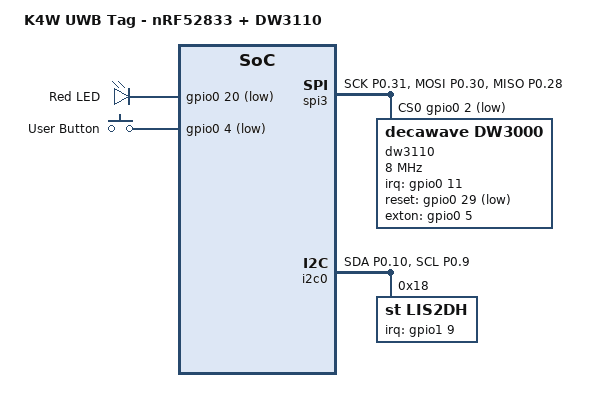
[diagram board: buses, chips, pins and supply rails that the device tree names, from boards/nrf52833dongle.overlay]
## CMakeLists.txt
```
cmake_minimum_required(VERSION 3.20.0)

# Set default board and build type if not specified
if(NOT DEFINED BOARD)
  set(BOARD nrf52833dongle)
endif()

find_package(Zephyr REQUIRED HINTS $ENV{ZEPHYR_BASE})
project(UWB_TAG_FIRMWARE)

target_sources(app PRIVATE 
    src/main.c
    src/uwb_driver.c
    src/pin_test.c
)
```

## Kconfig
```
mainmenu "UWB TAG FIRMWARE Configuration"

source "Kconfig.zephyr"
```

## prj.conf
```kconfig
# UWB TAG FIRMWARE - Configuration

# Minimal logging with RTT backend
CONFIG_LOG=y
CONFIG_LOG_PRINTK=y
CONFIG_LOG_MODE_MINIMAL=y
CONFIG_LOG_DEFAULT_LEVEL=3

# RTT for logging
CONFIG_USE_SEGGER_RTT=y
CONFIG_SEGGER_RTT_BUFFER_SIZE_UP=4096
CONFIG_CONSOLE=y
CONFIG_RTT_CONSOLE=y
CONFIG_UART_CONSOLE=n
CONFIG_PRINTK=y
CONFIG_EARLY_CONSOLE=y

# CRITICAL: Use NFC pins as GPIOs (required for I2C on P0.09/P0.10)
CONFIG_NFCT_PINS_AS_GPIOS=y

# SPI Driver
CONFIG_SPI=y
CONFIG_SPI_NRFX=y

# GPIO Driver
CONFIG_GPIO=y

# I2C Driver (for LIS2DH accelerometer)
CONFIG_I2C=y

# Disable Watchdog
CONFIG_WATCHDOG=n
```

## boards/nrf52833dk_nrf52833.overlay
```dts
/*
 * Copyright (c) 2024 UWB TAG FIRMWARE Project
 * Device Tree Overlay for NRF52833 DK with DW3210 UWB Transceiver
 */

/ {
	model = "NRF52833 DK with DW3210 UWB";
};

&pinctrl {
	spi0_default: spi0_default {
		group1 {
			psels = <NRF_PSEL(SPIM_SCK, 0, 27)>,
				<NRF_PSEL(SPIM_MOSI, 0, 26)>,
				<NRF_PSEL(SPIM_MISO, 0, 29)>;
		};
	};

	spi0_sleep: spi0_sleep {
		group1 {
			psels = <NRF_PSEL(SPIM_SCK, 0, 27)>,
				<NRF_PSEL(SPIM_MOSI, 0, 26)>,
				<NRF_PSEL(SPIM_MISO, 0, 29)>;
			low-power-enable;
		};
	};
};

&spi0 {
	status = "okay";
	pinctrl-0 = <&spi0_default>;
	pinctrl-1 = <&spi0_sleep>;
	pinctrl-names = "default", "sleep";
	cs-gpios = <&gpio0 31 GPIO_ACTIVE_LOW>;

	dw3210: dw3210@0 {
		compatible = "qorvo,dw3210";
		reg = <0>;
		spi-max-frequency = <2000000>;
		irq-gpios = <&gpio0 3 GPIO_ACTIVE_HIGH>;
		reset-gpios = <&gpio0 4 GPIO_ACTIVE_LOW>;
	};
};
```

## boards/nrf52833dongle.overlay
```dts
/*
 * K4W UWB Tag - Device Tree Overlay
 * Based on K4W_DW31X0_52833_SCH V1.1 - VERIFIED FROM RAW SCHEMATIC DATA
 * 
 * Pin Mapping (100% CONFIRMED - FINAL CORRECTION):
 *   UWB (SPI3): CLK=P0.31, MOSI=P0.30, MISO=P0.28, CS=P0.02 (SPICSN - CORRECTED!)
 *   UWB Control: IRQ=P0.11 (INT2 - CORRECTED!), RESET=P0.29 (RSTN)
 *   Note: EXTON and WAKEUP pins are NOT connected in this schematic
 *   I2C0: SDA=P0.10, SCL=P0.09 (NFC pins - requires CONFIG_NFCT_PINS_AS_GPIOS=y)
 *   LEDs: LED1=P0.05 (Blue), LED2=P0.20 (Red)
 *   Button: KEY=P0.04
 *   Accelerometer: LIS2DH on I2C0, CS=P0.15, SDO=P0.17, INT=P1.09
 */

/ {
	model = "K4W UWB Tag - nRF52833 + DW3110";
	
	/* LED Definitions */
	/* NOTE: P0.05 is used for EXTON (UWB power control), not LED! */
	leds {
		compatible = "gpio-leds";
		/* led1 disabled - P0.05 used for EXTON */
		led2: led_2 {
			gpios = <&gpio0 20 GPIO_ACTIVE_LOW>;
			label = "Red LED";
		};
	};

	/* Button Definition */
	buttons {
		compatible = "gpio-keys";
		button0: button_0 {
			gpios = <&gpio0 4 (GPIO_PULL_UP | GPIO_ACTIVE_LOW)>;
			label = "User Button";
		};
	};
	
	/* Aliases for easy code access */
	aliases {
		/delete-property/ led0;
		/delete-property/ led1;
		/delete-property/ led2;
		/delete-property/ led3;
		led0 = &led2;  /* Only red LED available */
		sw0 = &button0;
		uwb-spi = &spi3;
	};
};

/* Disable dongle's built-in LEDs */
&led0_green {
	status = "disabled";
};

&led1_red {
	status = "disabled";
};

&led1_green {
	status = "disabled";
};

&led1_blue {
	status = "disabled";
};

&pinctrl {
	/* SPI3 Pin Control (High-speed UWB) */
	spi3_default: spi3_default {
		group1 {
			psels = <NRF_PSEL(SPIM_SCK, 0, 31)>,
				<NRF_PSEL(SPIM_MOSI, 0, 30)>,
				<NRF_PSEL(SPIM_MISO, 0, 28)>;
		};
	};

	spi3_sleep: spi3_sleep {
		group1 {
			psels = <NRF_PSEL(SPIM_SCK, 0, 31)>,
				<NRF_PSEL(SPIM_MOSI, 0, 30)>,
				<NRF_PSEL(SPIM_MISO, 0, 28)>;
			low-power-enable;
		};
	};

	/* I2C0 Pin Control (Accelerometer) - NFC pins */
	i2c0_default: i2c0_default {
		group1 {
			psels = <NRF_PSEL(TWIM_SDA, 0, 10)>,
				<NRF_PSEL(TWIM_SCL, 0, 9)>;
		};
	};

	i2c0_sleep: i2c0_sleep {
		group1 {
			psels = <NRF_PSEL(TWIM_SDA, 0, 10)>,
				<NRF_PSEL(TWIM_SCL, 0, 9)>;
			low-power-enable;
		};
	};
};

/* UWB Module Configuration (SPI3) - SCHEMATIC VERIFIED */
&spi3 {
	compatible = "nordic,nrf-spim";
	status = "okay";
	pinctrl-0 = <&spi3_default>;
	pinctrl-1 = <&spi3_sleep>;
	pinctrl-names = "default", "sleep";
	
	/* CRITICAL: CS pin is P0.02 (SPICSN) - ACTIVE LOW (standard SPI) */
	cs-gpios = <&gpio0 2 GPIO_ACTIVE_LOW>;

	dw3110: dw3000@0 {
		compatible = "decawave,dw3000";
		reg = <0>;
		spi-max-frequency = <8000000>;  /* 8MHz max per DW3110 spec */
		
		/* Schematic: INT2 -> P0.11 (FINAL CORRECTION!) */
		irq-gpios = <&gpio0 11 GPIO_ACTIVE_HIGH>;
		
		/* Schematic: RSTN -> P0.29 (Active LOW) */
		reset-gpios = <&gpio0 29 GPIO_ACTIVE_LOW>;
		
		/* CRITICAL: EXTON -> P0.05 controls AP3406 buck converter (U7) EN pin */
		/* This MUST be HIGH to provide +1V8 core power to DW3110! */
		exton-gpios = <&gpio0 5 GPIO_ACTIVE_HIGH>;
	};
};

/* Accelerometer Configuration (I2C0) - Requires CONFIG_NFCT_PINS_AS_GPIOS=y */
&i2c0 {
	compatible = "nordic,nrf-twim";
	status = "okay";
	pinctrl-0 = <&i2c0_default>;
	pinctrl-1 = <&i2c0_sleep>;
	pinctrl-names = "default", "sleep";

	lis2dh@18 {
		compatible = "st,lis2dh";
		reg = <0x18>; /* Schematic: SDO pin at P0.17 determines address */
		/* Schematic block 22,23: INTE -> P1.09 */
		irq-gpios = <&gpio1 9 GPIO_ACTIVE_HIGH>;
	};
};
```

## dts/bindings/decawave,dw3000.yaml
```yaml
# SPDX-License-Identifier: Apache-2.0
# Copyright (c) 2024 K4W UWB Tag Project

description: Decawave DW3000 series UWB transceiver (DW3110, DW3120, etc.)

compatible: "decawave,dw3000"

include: spi-device.yaml

properties:
  irq-gpios:
    type: phandle-array
    description: |
      GPIO connected to the DW3000 IRQ (interrupt) pin.
      This pin is used by the chip to signal events to the host.

  reset-gpios:
    type: phandle-array
    description: |
      GPIO connected to the DW3000 RSTn (reset) pin.
      This is an active-low reset signal.

  wakeup-gpios:
    type: phandle-array
    description: |
      GPIO connected to the DW3000 WAKEUP pin.
      Used to wake the chip from deep sleep mode.

  exton-gpios:
    type: phandle-array
    description: |
      GPIO connected to the DW3000 EXTON (external enable) pin.
      Controls chip power domain enable (active high).
```

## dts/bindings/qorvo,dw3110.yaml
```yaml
# Copyright (c) 2024 UWB TAG FIRMWARE Project
# SPDX-License-Identifier: Apache-2.0

description: Decawave DW3110 UWB Transceiver

compatible: "qorvo,dw3110"

include: spi-device.yaml

properties:
  irq-gpios:
    type: phandle-array
    required: false
    description: |
      IRQ pin from DW3110 to host MCU (P0.11) - Optional for polling mode
      
  reset-gpios:
    type: phandle-array
    required: false
    description: |
      RESET/RSTN pin to DW3110 (P0.29 - Active Low) - Optional
      
  wakeup-gpios:
    type: phandle-array
    required: false
    description: |
      WAKEUP pin to DW3110 (conflicts with NFC) - Optional
```

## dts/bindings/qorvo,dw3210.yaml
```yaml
description: Qorvo DW3210 UWB Transceiver

compatible: "qorvo,dw3210"

include: spi-device.yaml

properties:
  irq-gpios:
    type: phandle-array
    required: true
  reset-gpios:
    type: phandle-array
    required: true
```

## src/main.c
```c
#include <zephyr/kernel.h>
#include <zephyr/logging/log.h>
#include <zephyr/drivers/gpio.h>
#include "pin_test.h"

LOG_MODULE_REGISTER(uwb_tag_firmware, CONFIG_LOG_DEFAULT_LEVEL);

/* Forward declaration of UWB driver functions */
extern int uwb_driver_init(void);
extern int uwb_send_blink(void);

/* LED for visual debug - P0.20 Red LED (ACTIVE_LOW) */
#define LED0_NODE DT_ALIAS(led0)
static const struct gpio_dt_spec led = GPIO_DT_SPEC_GET(LED0_NODE, gpios);

/* P0.05 Front LED - Force OFF for power saving (before EXTON use) */
static const struct gpio_dt_spec led_front = {
    .port = DEVICE_DT_GET(DT_NODELABEL(gpio0)),
    .pin = 5,
    .dt_flags = GPIO_ACTIVE_HIGH
};

/* Button (P0.04) - Arka taraftaki buton */
static const struct gpio_dt_spec button = {
    .port = DEVICE_DT_GET(DT_NODELABEL(gpio0)),
    .pin = 4,
    .dt_flags = GPIO_ACTIVE_HIGH  // Buton normal durumda LOW, basınca HIGH
};

/* Button callback için */
static struct gpio_callback button_cb_data;

/* Debounce için son buton zamanı */
static int64_t last_button_time = 0;

/**
 * Buton basıldığında çağrılır
 * P0.20 LED'i 3 kez yanıp söndürür
 */
void button_pressed(const struct device *dev, struct gpio_callback *cb, uint32_t pins)
{
    int64_t now = k_uptime_get();
    
    /* Debounce: 500ms içinde tekrar tetiklenmeyi görmezden gel */
    if ((now - last_button_time) < 500) {
        return;
    }
    last_button_time = now;
    
    /* Buton durumunu oku - Sadece LOW->HIGH geçişinde blink yap */
    int button_state = gpio_pin_get_dt(&button);
    if (button_state != 1) {
        return;  // Buton hala basılı veya LOW
    }
    
    printk("Button pressed! Blinking P0.20 LED 3x...\n");
    
    /* P0.20 LED'i 3 kez yanıp söndür */
    for (int i = 0; i < 3; i++) {
        if (gpio_is_ready_dt(&led)) {
            gpio_pin_set_dt(&led, 0);  // ACTIVE_LOW: 0=ON
            k_msleep(100);
            gpio_pin_set_dt(&led, 1);  // ACTIVE_LOW: 1=OFF
            k_msleep(100);
        }
    }
}

/**
 * Main application entry point
 * UWB TAG FIRMWARE - TX Mode (Transmitter/BLINK)
 * 
 * This firmware runs the NRF52833 in TX-only mode:
 * - Sends UWB BLINK frames every 500ms
 * - Enters sleep mode for 490ms between transmissions
 * - NO RX (receive) functionality
 */
int main(void)
{
    int ret = 0;

    /* P0.05 (Front LED) başlatma - Başlangıçta KAPALI */
    if (device_is_ready(led_front.port)) {
        gpio_pin_configure_dt(&led_front, GPIO_OUTPUT_INACTIVE);
        gpio_pin_set_dt(&led_front, 0);  // LED OFF
        printk("P0.05 (Front LED) initialized - Will blink every 5 TX (1 sec)\n");
    }

    /* P0.20 (Back LED) başlatma */
    if (gpio_is_ready_dt(&led)) {
        gpio_pin_configure_dt(&led, GPIO_OUTPUT_INACTIVE);
        gpio_pin_set_dt(&led, 1);  // ACTIVE_LOW: 1=OFF
        printk("P0.20 (Back LED) initialized - Button controlled\n");
    }

    /* Buton başlatma (P0.04) */
    if (device_is_ready(button.port)) {
        /* Configure with internal pull-up */
        gpio_pin_configure_dt(&button, GPIO_INPUT | GPIO_PULL_UP);
        gpio_pin_interrupt_configure_dt(&button, GPIO_INT_EDGE_BOTH);
        
        /* Callback ayarla */
        gpio_init_callback(&button_cb_data, button_pressed, BIT(button.pin));
        gpio_add_callback(button.port, &button_cb_data);
        
        printk("Button (P0.04) initialized - Press and release to blink P0.20 LED\n");
        printk("Button current state: %d (0=pressed, 1=released)\n", gpio_pin_get_dt(&button));
    } else {
        printk("WARNING: Button port not ready!\n");
    }

    printk("\n\n\n*** BOOT START ***\n");
    printk("===========================================\n");
    printk("UWB TAG FIRMWARE - TX MODE (TRANSMITTER)\n");
    printk("===========================================\n");
    printk("Platform: NRF52833\n");
    printk("Transceiver: Decawave DW3110\n");
    printk("RTOS: Zephyr\n");
    printk("===========================================\n");

    /* Hardware diagnostic */
    printk("\nRunning hardware diagnostic...\n");
    pin_diagnostic_test();

    /* Startup blink (3x) - Sadece P0.20 kullan */
    for (int i = 0; i < 3; i++) {
        if (gpio_is_ready_dt(&led)) {
            gpio_pin_set_dt(&led, 0);
            k_busy_wait(100000);
            gpio_pin_set_dt(&led, 1);
            k_busy_wait(100000);
        }
    }

    /* UWB driver init */
    printk("About to call uwb_driver_init...\n");
    ret = uwb_driver_init();
    if (ret) {
        printk("Init failed: %d\n", ret);
        while (1) {
            if (gpio_is_ready_dt(&led)) {
                gpio_pin_toggle_dt(&led);
                k_busy_wait(100000);
            }
        }
    }

    printk("=== INIT COMPLETE ===\n");
    printk("=== Starting BLINK TX Mode ===\n");
    printk("TX Rate: 5 Hz (every 200ms)\n");
    printk("Front LED (P0.05): Blinks every 5 TX (1 sec) for power saving\n");
    printk("Back LED (P0.20): OFF (not used)\n\n");
    
    uint32_t tx_count = 0;
    
    /* Main loop: Send BLINK frames with LED pulse every 5 TX */
    while (1) {
        /* Send BLINK frame */
        ret = uwb_send_blink();
        if (ret == 0) {
            tx_count++;
            if (tx_count % 10 == 0) {
                printk("TX Count: %u\n", tx_count);
            }
        } else {
            printk("TX failed: %d\n", ret);
        }
        
        /* LED yanıp sönsün - Her 5 TX'te bir (1 saniyede bir) */
        if (tx_count % 5 == 0) {
            if (device_is_ready(led_front.port)) {
                gpio_pin_set_dt(&led_front, 1);  // LED ON
                k_msleep(50);                     // 50ms yanık kal
                gpio_pin_set_dt(&led_front, 0);  // LED OFF
                k_msleep(150);                    // 150ms bekle
            }
        } else {
            k_msleep(200);  // LED yanmadan 200ms bekle
        }
    }

    return 0;
}
```

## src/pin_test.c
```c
#include <zephyr/kernel.h>
#include <zephyr/device.h>
#include <zephyr/drivers/gpio.h>
#include <zephyr/devicetree.h>

void pin_diagnostic_test(void)
{
    printk("\n=== PIN DIAGNOSTIC TEST ===\n");
    printk("Testing hardware connections...\n\n");
    
    const struct device *gpio0 = DEVICE_DT_GET(DT_NODELABEL(gpio0));
    if (!device_is_ready(gpio0)) {
        printk("ERROR: GPIO0 not ready!\n");
        return;
    }
    
    // Test each SPI pin
    struct {
        uint8_t pin;
        const char *name;
    } spi_pins[] = {
        {31, "CLK (P0.31)"},
        {30, "MOSI (P0.30)"},
        {28, "MISO (P0.28)"},
        {2, "CS (P0.02)"},
        {29, "RESET (P0.29)"},
        {11, "IRQ (P0.11)"},
    };
    
    for (int i = 0; i < 6; i++) {
        // Configure as input with pull-up
        gpio_pin_configure(gpio0, spi_pins[i].pin, GPIO_INPUT | GPIO_PULL_UP);
        k_msleep(1);
        int val_pullup = gpio_pin_get(gpio0, spi_pins[i].pin);
        
        // Configure as input with pull-down
        gpio_pin_configure(gpio0, spi_pins[i].pin, GPIO_INPUT | GPIO_PULL_DOWN);
        k_msleep(1);
        int val_pulldown = gpio_pin_get(gpio0, spi_pins[i].pin);
        
        printk("%-15s: Pull-UP=%d, Pull-DOWN=%d", spi_pins[i].name, val_pullup, val_pulldown);
        
        if (val_pullup == 1 && val_pulldown == 0) {
            printk(" [FLOATING - OK]\n");
        } else if (val_pullup == 1 && val_pulldown == 1) {
            printk(" [STUCK HIGH!]\n");
        } else if (val_pullup == 0 && val_pulldown == 0) {
            printk(" [STUCK LOW or SHORT!]\n");
        } else {
            printk(" [UNKNOWN STATE]\n");
        }
    }
    
    printk("\n=== END PIN TEST ===\n\n");
}
```

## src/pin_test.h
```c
#ifndef PIN_TEST_H
#define PIN_TEST_H

void pin_diagnostic_test(void);

#endif
```

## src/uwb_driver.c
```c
#include <zephyr/kernel.h>
#include <zephyr/logging/log.h>
#include <zephyr/device.h>
#include <zephyr/drivers/spi.h>
#include <zephyr/drivers/gpio.h>

LOG_MODULE_REGISTER(uwb_driver, CONFIG_LOG_DEFAULT_LEVEL);

/* DW3000 Device Tree definitions */
#define DW3000_NODE DT_NODELABEL(dw3110)

/* SPI configuration - NO hardware CS! We'll control CS manually like Decawave SDK */
static struct spi_config dw3000_spi_cfg = {
	.frequency = 1000000, /* 1MHz for debugging */
	.operation = SPI_WORD_SET(8) | SPI_TRANSFER_MSB | SPI_OP_MODE_MASTER | SPI_MODE_CPOL | SPI_MODE_CPHA,
	.slave = 0,
	.cs = {0}, /* NO hardware CS control */
};

static const struct device *spi_dev = DEVICE_DT_GET(DT_BUS(DW3000_NODE));

/* Manual CS pin control (like Decawave SDK does) */
#if DT_SPI_DEV_HAS_CS_GPIOS(DW3000_NODE)
static const struct gpio_dt_spec dw3000_cs = GPIO_DT_SPEC_GET_BY_IDX(DT_BUS(DW3000_NODE), cs_gpios, DT_REG_ADDR(DW3000_NODE));
#define HAS_CS_GPIO 1
#else
#define HAS_CS_GPIO 0
#endif

/* GPIO definitions from devicetree */
#if DT_NODE_HAS_PROP(DW3000_NODE, irq_gpios)
static const struct gpio_dt_spec dw3000_irq = GPIO_DT_SPEC_GET(DW3000_NODE, irq_gpios);
#define HAS_IRQ_GPIO 1
#else
#define HAS_IRQ_GPIO 0
#endif

#if DT_NODE_HAS_PROP(DW3000_NODE, reset_gpios)
static const struct gpio_dt_spec dw3000_reset = GPIO_DT_SPEC_GET(DW3000_NODE, reset_gpios);
#define HAS_RESET_GPIO 1
#else
#define HAS_RESET_GPIO 0
#endif

#if DT_NODE_HAS_PROP(DW3000_NODE, wakeup_gpios)
static const struct gpio_dt_spec dw3000_wakeup = GPIO_DT_SPEC_GET(DW3000_NODE, wakeup_gpios);
#define HAS_WAKEUP_GPIO 1
#else
#define HAS_WAKEUP_GPIO 0
#endif

#if DT_NODE_HAS_PROP(DW3000_NODE, exton_gpios)
static const struct gpio_dt_spec dw3000_exton = GPIO_DT_SPEC_GET(DW3000_NODE, exton_gpios);
#define HAS_EXTON_GPIO 1
#else
#define HAS_EXTON_GPIO 0
#endif

/* DW3000 Register Addresses */
#define DW3000_REG_DEV_ID       0x00
#define DW3000_EXPECTED_DEV_ID  0xDECA0130  // DW3110 Device ID

/* Forward declarations */
static int dw3000_write_register(uint16_t reg_addr, const uint8_t *data, uint16_t len);

/**
 * DW3110 Power-On and Wake-Up Sequence
 * Per DW3110 datasheet, proper power-on sequence is critical:
 * NOTE: This board only has RESET and IRQ pins connected.
 *       EXTON and WAKEUP are NOT present in schematic.
 * 1. Release RESET (if used)
 * 2. Wait for chip boot (5ms min)
 */
static int dw3000_power_on_sequence(void)
{
    int ret;
    
    printk("\n=== DW3110 Power-On Sequence ===\n");
    printk("CRITICAL: EXTON (P0.05) controls AP3406 buck converter for DW3110 +1V8 power\n");
    
#if HAS_EXTON_GPIO
    /* STEP 1: Enable DW3110 power via EXTON -> AP3406 EN pin */
    if (!device_is_ready(dw3000_exton.port)) {
        printk("ERROR: EXTON GPIO not ready!\n");
        return -ENODEV;
    }
    
    ret = gpio_pin_configure_dt(&dw3000_exton, GPIO_OUTPUT_ACTIVE);
    if (ret < 0) {
        printk("ERROR: Failed to configure EXTON pin: %d\n", ret);
        return ret;
    }
    
    /* Set EXTON HIGH to enable AP3406 buck converter (U7) */
    gpio_pin_set_dt(&dw3000_exton, 1);  /* HIGH = Enable +1V8 power */
    printk("EXTON: HIGH - AP3406 buck converter ENABLED, +1V8 power ON\n");
    k_msleep(10);  /* Wait for power to stabilize */
#else
    printk("ERROR: EXTON not defined - DW3110 will NOT have power!\n");
    return -ENODEV;
#endif
    
#if HAS_RESET_GPIO
    /* Step 2: Release RESET (Active LOW, so set HIGH to release) */
    if (!device_is_ready(dw3000_reset.port)) {
        printk("ERROR: RESET GPIO not ready!\n");
        return -ENODEV;
    }
    
    ret = gpio_pin_configure_dt(&dw3000_reset, GPIO_OUTPUT_ACTIVE);
    if (ret < 0) {
        printk("ERROR: Failed to configure RESET pin: %d\n", ret);
        return ret;
    }
    
    printk("RESET: Asserting reset (LOW)...\n");
    gpio_pin_set_dt(&dw3000_reset, 1);  /* Assert reset (Active LOW = logic 0) */
    k_msleep(10);
    
    printk("RESET: Releasing reset (HIGH)...\n");
    gpio_pin_set_dt(&dw3000_reset, 0);  /* Release reset (Active LOW = logic 1) */
    k_msleep(10);  /* Wait for chip to boot */
    printk("RESET: Complete\n");
#else
    printk("WARNING: RESET pin not defined in devicetree!\n");
    k_msleep(20);  /* Give chip time anyway */
#endif

#if HAS_IRQ_GPIO
    /* Step 2: Configure IRQ pin as input (P0.11) */
    if (!device_is_ready(dw3000_irq.port)) {
        printk("ERROR: IRQ GPIO not ready!\n");
        return -ENODEV;
    }
    
    ret = gpio_pin_configure_dt(&dw3000_irq, GPIO_INPUT);
    if (ret < 0) {
        printk("ERROR: Failed to configure IRQ pin: %d\n", ret);
        return ret;
    }
    printk("IRQ: Configured as input (P0.11)\n");
#else
    printk("WARNING: IRQ pin not defined in devicetree!\n");
#endif
    
    printk("=== Power-On Sequence Complete ===\n");
    printk("Chip should now be ready for SPI communication\n\n");
    
    return 0;
}

/**
 * Read DW3000 Device ID register - Using Decawave SDK pattern
 * @return Device ID value or 0 on error
 */
static uint32_t dw3000_read_dev_id(void)
{
    printk("\n=== DW3000 Device ID Read Attempt (SDK Pattern) ===\n");
    
    // Debug: Check SPI configuration
    printk("SPI Config Check:\n");
    printk("  Bus device: %s\n", spi_dev->name);
    printk("  Frequency: %u Hz\n", dw3000_spi_cfg.frequency);
    printk("  Operation: 0x%08X\n", dw3000_spi_cfg.operation);
#if HAS_CS_GPIO
    printk("  CS GPIO: Port=%p, Pin=%d (MANUAL CONTROL)\n", 
           dw3000_cs.port, dw3000_cs.pin);
#else
    printk("  ERROR: No CS GPIO defined!\n");
    return 0;
#endif
    
    // DW3110 SPI Format: [Header byte][Data bytes]
    // DEV_ID is at register 0x00, length 4 bytes
    static uint8_t tx_buf[5];
    static uint8_t rx_buf[5];
    
    // Try multiple times
    for (int attempt = 0; attempt < 3; attempt++) {
        memset(tx_buf, 0, 5);
        memset(rx_buf, 0, 5);
        
        tx_buf[0] = 0x80;  // Read (0x80) from register 0x00
        
        printk("\nAttempt %d: Reading Device ID...\n", attempt + 1);
        
        const struct spi_buf tx = {.buf = tx_buf, .len = 5};
        const struct spi_buf rx = {.buf = rx_buf, .len = 5};
        const struct spi_buf_set tx_set = {&tx, 1};
        const struct spi_buf_set rx_set = {&rx, 1};
        
        // Manual CS control - CORRECTED for ACTIVE_LOW
#if HAS_CS_GPIO
        gpio_pin_set_dt(&dw3000_cs, 1);  // CS ACTIVE (LOW physically) = Select chip
        k_busy_wait(1);  // Small delay
#endif
        
        int ret = spi_transceive(spi_dev, &dw3000_spi_cfg, &tx_set, &rx_set);
        
#if HAS_CS_GPIO        
        k_busy_wait(1);  // Small delay
        gpio_pin_set_dt(&dw3000_cs, 0);  // CS INACTIVE (HIGH physically) = Deselect chip
#endif
        
        printk("  SPI ret=%d, RX=[0x%02X 0x%02X 0x%02X 0x%02X 0x%02X]\n", 
               ret, rx_buf[0], rx_buf[1], rx_buf[2], rx_buf[3], rx_buf[4]);
        
        if (ret != 0) {
            printk("  SPI transceive failed: %d\n", ret);
            k_msleep(10);
            continue;
        }
        
        // Check if we got valid data (any non-zero response)
        if (rx_buf[0] != 0 || rx_buf[1] != 0 || rx_buf[2] != 0 || rx_buf[3] != 0 || rx_buf[4] != 0) {
            // Try multiple interpretations of the Device ID
            // Option 1: Little-endian starting at byte 1 (skip header)
            uint32_t dev_id_v1 = (rx_buf[4] << 24) | (rx_buf[3] << 16) | (rx_buf[2] << 8) | rx_buf[1];
            // Option 2: Little-endian starting at byte 0
            uint32_t dev_id_v2 = (rx_buf[3] << 24) | (rx_buf[2] << 16) | (rx_buf[1] << 8) | rx_buf[0];
            // Option 3: Big-endian starting at byte 1
            uint32_t dev_id_v3 = (rx_buf[1] << 24) | (rx_buf[2] << 16) | (rx_buf[3] << 8) | rx_buf[4];
            
            printk("  SUCCESS! Device ID interpretations:\n");
            printk("    v1 (LE, byte 1-4): 0x%08X\n", dev_id_v1);
            printk("    v2 (LE, byte 0-3): 0x%08X\n", dev_id_v2);
            printk("    v3 (BE, byte 1-4): 0x%08X\n", dev_id_v3);
            
            // Expected DW3110 ID is 0xDECA0130
            if (dev_id_v1 == 0xDECA0130 || dev_id_v2 == 0xDECA0130 || dev_id_v3 == 0xDECA0130) {
                printk("  ✓ VERIFIED: DW3110 Device ID matches!\n");
                return 0xDECA0130;
            }
            
            // Return the most likely candidate (v1 is standard for Decawave)
            return dev_id_v1;
        }
        
        k_msleep(10); // Wait before retry
    }
    
    printk("\n!!! All attempts failed - MISO stuck at 0x00 !!!\n");
    printk("Hardware checklist:\n");
    printk("  1. Is DW3110 powered? (VDD = 3.3V)\n");
    printk("  2. Is RESET pin connected correctly? (P0.29, Active LOW)\n");
    printk("  3. Are SPI pins correct? CLK=P0.31, MOSI=P0.30, MISO=P0.28, CS=P0.02\n");
    printk("  4. Is chip in deep sleep mode?\n");
    
    return 0;
}

/**
 * Initialize UWB driver and DW3110 transceiver
 * @return 0 on success, negative error code on failure
 */
int uwb_driver_init(void)
{
    int ret;
    
    LOG_INF("=== DW3000 UWB Driver Init (Decawave SDK Pattern) ===");
    
    // Check SPI bus
    if (!device_is_ready(spi_dev)) {
        LOG_ERR("SPI bus not ready");
        return -ENODEV;
    }
    LOG_INF("SPI bus ready");
    
    // Configure CS pin manually (HIGH = deselected)
#if HAS_CS_GPIO
    if (!device_is_ready(dw3000_cs.port)) {
        LOG_ERR("CS GPIO port not ready");
        return -ENODEV;
    }
    
    ret = gpio_pin_configure_dt(&dw3000_cs, GPIO_OUTPUT_INACTIVE);
    if (ret < 0) {
        LOG_ERR("Failed to configure CS pin: %d", ret);
        return ret;
    }
    gpio_pin_set_dt(&dw3000_cs, 1);  // CS HIGH = deselected
    LOG_INF("CS pin configured (manual control, P0.02)");
#else
    LOG_ERR("No CS GPIO defined - cannot continue");
    return -ENODEV;
#endif
    
    /* Execute proper power-on sequence with all control pins */
    printk("Executing DW3110 power-on sequence...\n");
    ret = dw3000_power_on_sequence();
    if (ret != 0) {
        printk("Power-on sequence failed: %d\n", ret);
        return ret;
    }
    
    /* Small additional delay for SPI to stabilize */
    k_msleep(10);
    
    printk("=== CHECKPOINT A ===\n");
    printk("Reading Device ID after proper initialization...\n");
    
    uint32_t dev_id = dw3000_read_dev_id();
    printk("Device ID: 0x%08X\n", dev_id);
    
    if (dev_id == 0xFFFFFFFF) {
        LOG_ERR("SPI communication failed - MISO reads all 1s");
        LOG_ERR("Check: MISO pin connection, chip power, chip select");
        return -EIO;
    }
    
    if (dev_id == 0x00000000) {
        LOG_ERR("SPI communication failed - MISO reads all 0s");
        LOG_ERR("Check: Chip power, reset pin, SPI clock");
        return -EIO;
    }
    
    if (dev_id != DW3000_EXPECTED_DEV_ID) {
        LOG_WRN("Unexpected Device ID - continuing anyway");
    }
    
    LOG_INF("Configuring DW3110 for Channel 5 TX mode...");
    
    // Configure Channel 5 (CHAN_CTRL register 0x10014)
    uint8_t chan_ctrl[4] = {0x05, 0x00, 0x00, 0x00};  // Channel 5
    ret = dw3000_write_register(0x10014, chan_ctrl, 4);
    if (ret != 0) {
        LOG_ERR("Failed to write CHAN_CTRL: %d", ret);
    } else {
        LOG_INF("Channel 5 configured");
    }
    
    k_msleep(10);
    
    LOG_INF("DW3000 Driver initialized successfully");
    return 0;
}

/**
 * Simple SPI write to DW3110 register
 * (Currently unused - reserved for future TX implementation)
 */
#if 0
static int dw3000_write_reg(uint8_t reg_addr, const uint8_t *data, uint16_t len)
{
    uint8_t header = 0x80 | reg_addr;  // Write command
    
    const struct spi_buf tx_bufs[] = {
        {.buf = &header, .len = 1},
        {.buf = (uint8_t *)data, .len = len}
    };
    const struct spi_buf_set tx = {tx_bufs, 2};
    
#if HAS_CS_GPIO
    gpio_pin_set_dt(&dw3000_cs, 1);  // CS ACTIVE
    k_busy_wait(1);
#endif
    
    int ret = spi_write(spi_dev, &dw3000_spi_cfg, &tx);
    
#if HAS_CS_GPIO
    k_busy_wait(1);
    gpio_pin_set_dt(&dw3000_cs, 0);  // CS INACTIVE
#endif
    
    return ret;
}
#endif

/**
 * Write data to DW3110 register
 */
static int dw3000_write_register(uint16_t reg_addr, const uint8_t *data, uint16_t len)
{
    uint8_t header[3];
    int header_len = 1;
    
    // Build SPI header
    if (reg_addr <= 0x7F) {
        header[0] = 0x80 | reg_addr;  // Write bit + address
    } else {
        header[0] = 0xC0 | (reg_addr & 0x7F);       // Extended write
        header[1] = (reg_addr >> 7) & 0xFF;
        header[2] = (reg_addr >> 15) & 0xFF;
        header_len = 3;
    }
    
    const struct spi_buf tx_bufs[] = {
        {.buf = header, .len = header_len},
        {.buf = (uint8_t *)data, .len = len}
    };
    const struct spi_buf_set tx = {tx_bufs, 2};
    
#if HAS_CS_GPIO
    gpio_pin_set_dt(&dw3000_cs, 1);  // CS ACTIVE
    k_busy_wait(1);
#endif
    
    int ret = spi_write(spi_dev, &dw3000_spi_cfg, &tx);
    
#if HAS_CS_GPIO
    k_busy_wait(1);
    gpio_pin_set_dt(&dw3000_cs, 0);  // CS INACTIVE
#endif
    
    return ret;
}

/**
 * Send UWB BLINK frame with REAL radio transmission
 * @return 0 on success, negative error code on failure
 */
int uwb_send_blink(void)
{
    LOG_INF("=== UWB BLINK TX ===");
    
    // Simple BLINK frame (minimal IEEE 802.15.4 frame)
    static uint8_t blink_frame[] = {
        0x41, 0x88,              // Frame Control: Data frame, no ACK, PAN ID compression
        0x00,                    // Sequence number (will increment)
        0xFF, 0xFF,              // PAN ID: Broadcast
        0x01, 0x02, 0x03, 0x04,  // Source address (Tag ID)
        0x05, 0x06, 0x07, 0x08,
        0xAA, 0xBB               // Dummy payload
    };
    
    static uint8_t seq_num = 0;
    blink_frame[2] = seq_num++;
    
    uint16_t frame_len = sizeof(blink_frame);
    
    LOG_INF("TX Frame: Seq=%d, Len=%d bytes", blink_frame[2], frame_len);
    LOG_HEXDUMP_INF(blink_frame, frame_len, "Frame data:");
    
    // 1. Write frame to TX buffer (register 0x14)
    int ret = dw3000_write_register(0x14, blink_frame, frame_len);
    if (ret != 0) {
        LOG_ERR("Failed to write TX buffer: %d", ret);
        return ret;
    }
    
    // 2. Set TX frame control (register 0x24: TX_FCTRL)
    uint8_t tx_fctrl[4];
    tx_fctrl[0] = frame_len & 0xFF;           // Frame length low byte
    tx_fctrl[1] = (frame_len >> 8) & 0x03;    // Frame length high bits
    tx_fctrl[2] = 0x00;                        // Reserved
    tx_fctrl[3] = 0x00;                        // Reserved
    
    ret = dw3000_write_register(0x24, tx_fctrl, 4);
    if (ret != 0) {
        LOG_ERR("Failed to write TX_FCTRL: %d", ret);
        return ret;
    }
    
    // 3. Trigger TX (register 0x0D: SYS_CTRL, bit 1 = TXSTRT)
    uint8_t sys_ctrl = 0x02;  // TXSTRT bit
    ret = dw3000_write_register(0x0D, &sys_ctrl, 1);
    if (ret != 0) {
        LOG_ERR("Failed to start TX: %d", ret);
        return ret;
    }
    
    LOG_INF(">>> RADIO TX INITIATED <<<");
    
    // 4. Wait for TX complete (simple delay for now, should use IRQ)
    k_msleep(2);
    
    // 5. Clear TX status (register 0x44: SYS_STATUS)
    uint8_t status_clear[4] = {0xFF, 0xFF, 0xFF, 0xFF};
    dw3000_write_register(0x44, status_clear, 4);
    
    return 0;
}
```
